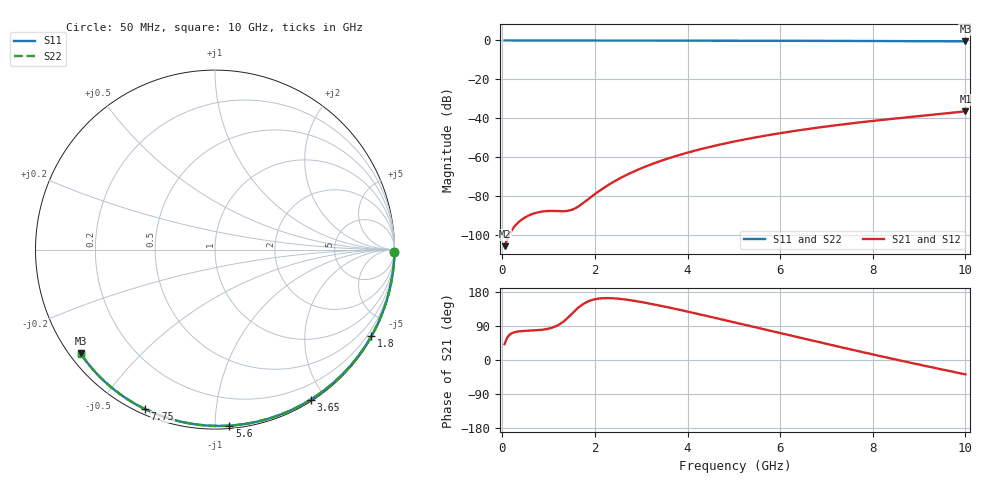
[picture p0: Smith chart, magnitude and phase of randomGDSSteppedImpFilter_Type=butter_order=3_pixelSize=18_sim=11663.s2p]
! freq	dB(S11)	phase(S11)	dB(S12)	phase(S12)
!  dB(S21)	phase(S21)	dB(S22)	phase(S22)
!S-par simulation data
#  GHz  S  DB  R 50
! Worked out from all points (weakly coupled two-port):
!   200 points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, 50 MHz to 10 GHz, reference 50 ohm
!   highest |S21| = -36.40 dB at 10 GHz (marker M1); lowest = -105.6 dB at 50 MHz (marker M2)
!   lowest |S11| = -0.5 dB at 10 GHz (marker M3), VSWR 36.44, Z = 1.53 - j17.1 ohm
!   |S11| at or under -10 dB: nowhere
!   |S22| runs from -0.5 to 0.0 dB; largest |S21 - S12| = 0
!   S11 on the Smith chart (normalised r, x): 50 MHz: open; 1.8 GHz: 0.03, -3.86; 3.65 GHz: 0.02, -1.82; 5.6 GHz: 0.02, -1.09; 7.75 GHz: 0.02, -0.65; 10 GHz: 0.03, -0.34
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0.05  -0.00 -0.8  -105.63 41.9  -105.63 41.9  -0.00 -0.8
0.45  -0.01 -7.4  -91.48 76.6  -91.48 76.6  -0.01 -7.4
0.9  -0.02 -14.7  -87.73 80.4  -87.73 80.4  -0.02 -14.7
1.75  -0.04 -28.2  -83.43 147.9  -83.43 147.9  -0.04 -28.2
1.8  -0.04 -29.0  -82.52 151.4  -82.52 151.4  -0.04 -29.0
1.9  -0.04 -30.6  -80.68 156.8  -80.68 156.8  -0.04 -30.6
1.95  -0.04 -31.4  -79.77 158.7  -79.77 158.7  -0.04 -31.4
2.25  -0.05 -36.1  -74.80 163.3  -74.80 163.3  -0.05 -36.1
2.55  -0.05 -40.8  -70.64 161.2  -70.64 161.2  -0.05 -40.8
2.95  -0.06 -46.9  -66.14 154.2  -66.14 154.2  -0.06 -46.9
3.4  -0.07 -53.7  -62.03 143.6  -62.03 143.6  -0.07 -53.7
3.65  -0.08 -57.5  -60.07 137.2  -60.07 137.2  -0.08 -57.4
4.3  -0.09 -67.0  -55.72 119.5  -55.72 119.5  -0.09 -67.0
5.05  -0.12 -77.7  -51.69 98.2  -51.69 98.2  -0.12 -77.7
5.6  -0.14 -85.3  -49.22 82.5  -49.22 82.5  -0.14 -85.3
6.15  -0.16 -92.8  -47.05 66.8  -47.05 66.8  -0.16 -92.7
6.7  -0.19 -100.1  -45.12 51.1  -45.12 51.1  -0.19 -100.1
7.2  -0.22 -106.6  -43.55 36.9  -43.55 36.9  -0.22 -106.6
7.75  -0.26 -113.7  -41.98 21.6  -41.98 21.6  -0.26 -113.7
8.35  -0.31 -121.4  -40.42 5.2  -40.42 5.2  -0.31 -121.3
9.2  -0.39 -132.1  -38.36 -17.4  -38.36 -17.4  -0.39 -132.1
10  -0.48 -142.3  -36.40 -38.0  -36.40 -38.0  -0.48 -142.3
